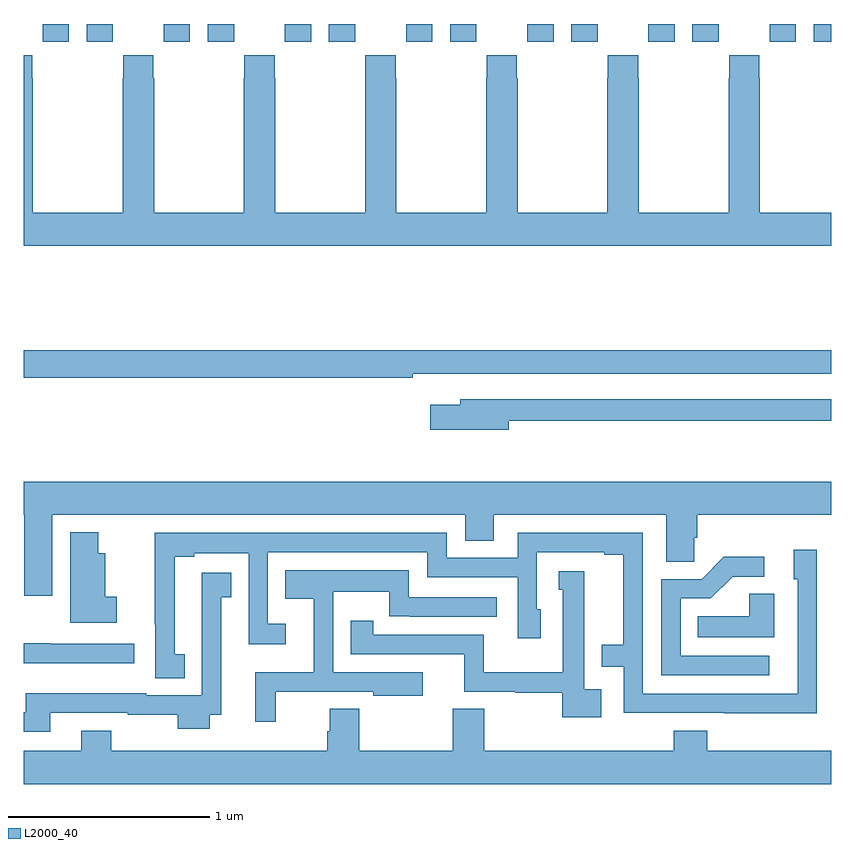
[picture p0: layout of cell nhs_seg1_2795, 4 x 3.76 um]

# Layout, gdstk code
import gdstk
lib = gdstk.Library(unit=1e-6, precision=1e-09)
def R(c, l, rs):  # rectangles x0, y0, x1, y1
    for r in rs: c.add(gdstk.rectangle(r[:2], r[2:], *l))
def P(c, l, *ps):  # polygons
    for p in ps: c.add(gdstk.Polygon(p, *l))
L2000_40 = (2000, 40)

nhs_seg1_2795 = lib.new_cell('nhs_seg1_2795')
R(nhs_seg1_2795, L2000_40, [(263.094,518.112,263.224,518.199), (263.312,518.112,263.442,518.199), (263.694,518.112,263.824,518.199), (263.912,518.112,264.042,518.199), (264.294,518.112,264.424,518.199), (264.512,518.112,264.642,518.199), (264.894,518.112,265.024,518.199), (265.112,518.112,265.242,518.199), (265.494,518.112,265.624,518.199), (265.712,518.112,265.842,518.199), (266.094,518.112,266.224,518.199), (266.312,518.112,266.442,518.199), (266.694,518.112,266.824,518.199), (266.912,518.112,267,518.199)])
P(nhs_seg1_2795, L2000_40, [(266.043,517.931),(266.043,518.044),(265.893,518.044),(265.893,517.931),(265.891,517.931),(265.891,517.264),(265.446,517.264),(265.446,517.931),(265.443,517.931),(265.443,518.044),(265.293,518.044),(265.293,517.931),(265.291,517.931),(265.291,517.264),(264.846,517.264),(264.846,517.931),(264.843,517.931),(264.843,518.044),(264.693,518.044),(264.693,517.931),(264.691,517.931),(264.691,517.264),(264.246,517.264),(264.246,517.931),(264.243,517.931),(264.243,518.044),(264.093,518.044),(264.093,517.931),(264.091,517.931),(264.091,517.264),(263.646,517.264),(263.646,517.931),(263.643,517.931),(263.643,518.044),(263.493,518.044),(263.493,517.931),(263.491,517.931),(263.491,517.264),(263.046,517.264),(263.046,517.931),(263.043,517.931),(263.043,518.044),(263,518.044),(263,517.1),(267,517.1),(267,517.264),(266.646,517.264),(266.646,517.931),(266.643,517.931),(266.643,518.044),(266.493,518.044),(266.493,517.931),(266.491,517.931),(266.491,517.264),(266.046,517.264),(266.046,517.931)],
  [(264.926,516.468),(267,516.468),(267,516.584),(263,516.584),(263,516.448),(264.926,516.448)],
  [(265.402,516.234),(267,516.234),(267,516.342),(265.163,516.342),(265.163,516.313),(265.014,516.313),(265.014,516.191),(265.402,516.191)],
  [(263,515.768),(263.003,515.768),(263.003,515.367),(263.143,515.367),(263.143,515.768),(265.187,515.768),(265.187,515.641),(265.327,515.641),(265.327,515.768),(266.183,515.768),(266.183,515.536),(266.321,515.536),(266.321,515.656),(266.336,515.656),(266.336,515.768),(267,515.768),(267,515.932),(263,515.932)],
  [(263.461,515.364),(263.404,515.364),(263.404,515.578),(263.371,515.578),(263.371,515.683),(263.231,515.683),(263.231,515.234),(263.461,515.234)],
  [(266.928,515.596),(266.813,515.596),(266.813,515.451),(266.832,515.451),(266.832,514.884),(266.067,514.884),(266.067,515.679),(265.446,515.679),(265.446,515.556),(265.095,515.556),(265.095,515.679),(264.107,515.679),(264.107,515.68),(263.65,515.68),(263.65,515.227),(263.652,515.227),(263.652,514.96),(263.798,514.96),(263.798,515.079),(263.749,515.079),(263.749,515.562),(263.845,515.562),(263.845,515.579),(264.114,515.579),(264.114,515.129),(264.298,515.129),(264.298,515.23),(264.21,515.23),(264.21,515.583),(264.999,515.583),(264.999,515.46),(265.446,515.46),(265.446,515.157),(265.561,515.157),(265.561,515.301),(265.542,515.301),(265.542,515.583),(265.874,515.583),(265.874,515.571),(265.97,515.571),(265.97,515.125),(265.862,515.125),(265.862,515.016),(265.971,515.016),(265.971,514.788),(266.467,514.788),(266.467,514.787),(266.928,514.787)],
  [(266.692,515.07),(266.253,515.07),(266.253,515.355),(266.403,515.355),(266.511,515.463),(266.668,515.463),(266.668,515.561),(266.468,515.561),(266.358,515.451),(266.157,515.451),(266.157,514.974),(266.692,514.974)],
  [(264.248,514.893),(264.731,514.893),(264.731,514.874),(264.976,514.874),(264.976,514.989),(264.534,514.989),(264.534,515.387),(264.81,515.387),(264.81,515.266),(264.913,515.266),(264.913,515.265),(265.342,515.265),(265.342,515.361),(264.906,515.361),(264.906,515.494),(264.295,515.494),(264.295,515.354),(264.437,515.354),(264.437,514.99),(264.146,514.99),(264.146,514.743),(264.248,514.743)],
  [(265.861,514.906),(265.776,514.906),(265.776,515.002),(265.777,515.002),(265.777,515.49),(265.649,515.49),(265.649,515.397),(265.67,515.397),(265.67,514.99),(265.279,514.99),(265.279,515.175),(264.732,515.175),(264.732,515.245),(264.619,515.245),(264.619,515.079),(265.181,515.079),(265.181,514.893),(265.434,514.893),(265.434,514.888),(265.668,514.888),(265.668,514.766),(265.861,514.766)],
  [(263.131,514.788),(263.517,514.788),(263.517,514.778),(263.764,514.778),(263.764,514.709),(263.923,514.709),(263.923,514.779),(263.98,514.779),(263.98,515.361),(264.029,515.361),(264.029,515.482),(263.882,515.482),(263.882,515.158),(263.883,515.158),(263.883,514.875),(263.607,514.875),(263.607,514.885),(263.012,514.885),(263.012,514.791),(263,514.791),(263,514.695),(263.131,514.695)],
  [(266.716,515.378),(266.594,515.378),(266.594,515.266),(266.338,515.266),(266.338,515.162),(266.716,515.162)],
  [(263.548,515.13),(263.135,515.13),(263.135,515.133),(263,515.133),(263,515.033),(263.548,515.033)],
  [(267,514.6),(266.384,514.6),(266.384,514.699),(266.219,514.699),(266.219,514.6),(265.281,514.6),(265.281,514.808),(265.126,514.808),(265.126,514.6),(264.663,514.6),(264.663,514.808),(264.515,514.808),(264.515,514.698),(264.503,514.698),(264.503,514.6),(263.433,514.6),(263.433,514.699),(263.285,514.699),(263.285,514.6),(263,514.6),(263,514.436),(267,514.436)])

lib.write_gds('nhs_seg1_2795.gds')
